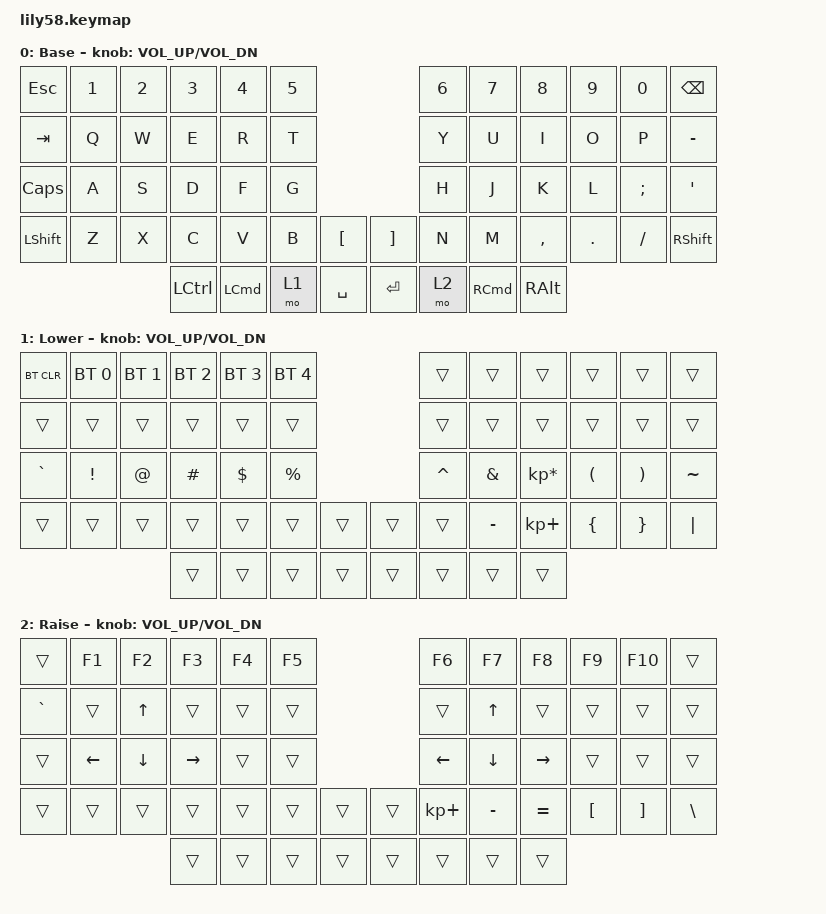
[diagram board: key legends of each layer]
/*
 * Copyright (c) 2020 The ZMK Contributors
 *
 * SPDX-License-Identifier: MIT
 */

#include <behaviors.dtsi>
#include <dt-bindings/zmk/bt.h>
#include <dt-bindings/zmk/keys.h>

/*
 * Assign the cs-gpios pin to 4.
 * Uncomment these next few lines if implementing nice!view Displays
 */

nice_view_spi: &spi0 { cs-gpios = <&pro_micro 4 GPIO_ACTIVE_HIGH>; };

// Uncomment this block if using RGB
//&led_strip {
//  chain-length = <35>;
//};

/ {
    keymap {
        compatible = "zmk,keymap";

        default_layer {
            // ------------------------------------------------------------------------------------------------------------
            // |  ESC  |  1  |  2  |  3   |  4   |  5   |                   |  6   |  7    |  8    |  9   |   0   |   `   |
            // |  TAB  |  Q  |  W  |  E   |  R   |  T   |                   |  Y   |  U    |  I    |  O   |   P   |   -   |
            // |  CTRL |  A  |  S  |  D   |  F   |  G   |                   |  H   |  J    |  K    |  L   |   ;   |   '   |
            // | SHIFT |  Z  |  X  |  C   |  V   |  B   |   "["  |  |  "]"  |  N   |  M    |  ,    |  .   |   /   | SHIFT |
            //                     | ALT  | GUI  | LOWER|  SPACE |  | ENTER | RAISE| BSPC  | GUI   |

            display-name = "Base";
            bindings = <
&kp ESC         &kp N1  &kp N2  &kp N3            &kp N4            &kp N5                         &kp N6  &kp N7             &kp N8         &kp N9   &kp N0    &kp BSPC
&kp TAB         &kp Q   &kp W   &kp E             &kp R             &kp T                          &kp Y   &kp U              &kp I          &kp O    &kp P     &kp MINUS
&kp CAPSLOCK    &kp A   &kp S   &kp D             &kp F             &kp G                          &kp H   &kp J              &kp K          &kp L    &kp SEMI  &kp SQT
&kp LEFT_SHIFT  &kp Z   &kp X   &kp C             &kp V             &kp B   &kp LBKT     &kp RBKT  &kp N   &kp M              &kp COMMA      &kp DOT  &kp FSLH  &kp RSHFT
                                &kp LEFT_CONTROL  &kp LEFT_COMMAND  &mo 1   &kp SPACE    &kp RET   &mo 2   &kp RIGHT_COMMAND  &kp RIGHT_ALT
            >;

            sensor-bindings = <&inc_dec_kp C_VOL_UP C_VOL_DN>;
        };

        lower_layer {
            // ------------------------------------------------------------------------------------------------------------
            // | BTCLR | BT1 | BT2 |  BT3 |  BT4 |  BT5 |                   |      |       |       |      |       |       |
            // |  F1   |  F2 |  F3 |  F4  |  F5  |  F6  |                   |  F7  |  F8   |  F9   |  F10 |  F11  |  F12  |
            // |   `   |  !  |  @  |  #   |  $   |  %   |                   |  ^   |  &    |  *    |  (   |   )   |   ~   |
            // |       |     |     |      |      |      |        |  |       |      |  _    |  +    |  {   |   }   |  "|"  |
            //                     |      |      |      |        |  |       |      |       |       |

            display-name = "Lower";
            bindings = <
&bt BT_CLR  &bt BT_SEL 0  &bt BT_SEL 1  &bt BT_SEL 2  &bt BT_SEL 3  &bt BT_SEL 4                    &trans     &trans     &trans           &trans    &trans    &trans
&trans      &trans        &trans        &trans        &trans        &trans                          &trans     &trans     &trans           &trans    &trans    &trans
&kp GRAVE   &kp EXCL      &kp AT        &kp HASH      &kp DOLLAR    &kp PRCNT                       &kp CARET  &kp AMPS   &kp KP_MULTIPLY  &kp LPAR  &kp RPAR  &kp TILDE
&trans      &trans        &trans        &trans        &trans        &trans        &trans    &trans  &trans     &kp MINUS  &kp KP_PLUS      &kp LBRC  &kp RBRC  &kp PIPE
                                        &trans        &trans        &trans        &trans    &trans  &trans     &trans     &trans
            >;

            sensor-bindings = <&inc_dec_kp C_VOL_UP C_VOL_DN>;
        };

        raise_layer {
            // ------------------------------------------------------------------------------------------------------------
            // |       |     |     |      |      |      |                   |      |       |       |      |       |       |
            // |   `   |  1  |  2  |  3   |  4   |  5   |                   |  6   |   7   |   8   |  9   |   0   |       |
            // |   F1  |  F2 |  F3 |  F4  |  F5  |  F6  |                   |      |   <-  |   v   |  ^   |  ->   |       |
            // |   F7  |  F8 |  F9 |  F10 |  F11 |  F12 |        |  |       |  +   |   -   |   =   |  [   |   ]   |   \   |
            //                     |      |      |      |        |  |       |      |       |       |

            display-name = "Raise";
            bindings = <
&trans     &kp F1    &kp F2    &kp F3     &kp F4  &kp F5                    &kp F6       &kp F7     &kp F8     &kp F9    &kp F10   &trans
&kp GRAVE  &trans    &kp UP    &trans     &trans  &trans                    &trans       &kp UP     &trans     &trans    &trans    &trans
&trans     &kp LEFT  &kp DOWN  &kp RIGHT  &trans  &trans                    &kp LEFT     &kp DOWN   &kp RIGHT  &trans    &trans    &trans
&trans     &trans    &trans    &trans     &trans  &trans  &trans    &trans  &kp KP_PLUS  &kp MINUS  &kp EQUAL  &kp LBKT  &kp RBKT  &kp BSLH
                               &trans     &trans  &trans  &trans    &trans  &trans       &trans     &trans
            >;

            sensor-bindings = <&inc_dec_kp C_VOL_UP C_VOL_DN>;
        };

        extra_1 { status = "reserved"; };

        extra_2 { status = "reserved"; };

        extra_3 { status = "reserved"; };
    };
};
